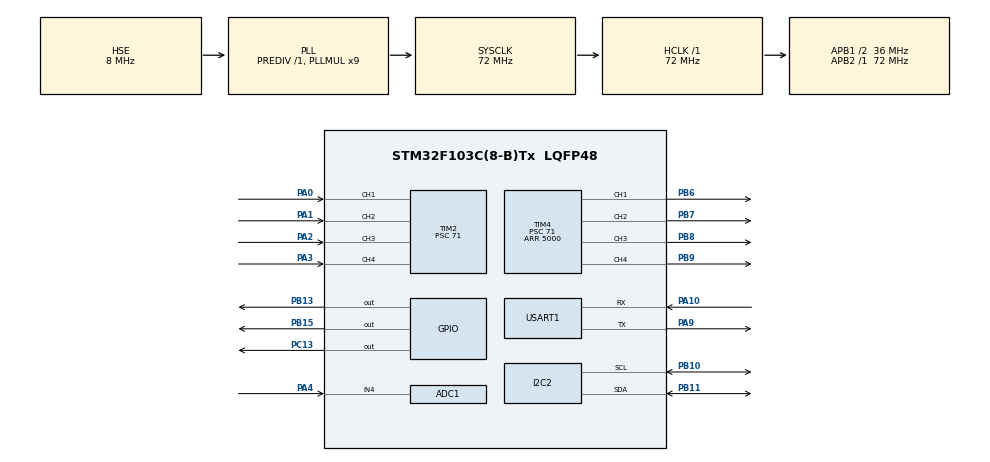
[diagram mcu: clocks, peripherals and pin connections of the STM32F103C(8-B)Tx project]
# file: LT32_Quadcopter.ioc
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ADC1.Channel-0\#ChannelRegularConversion=ADC_CHANNEL_4
ADC1.NbrOfConversionFlag=1
ADC1.Rank-0\#ChannelRegularConversion=1
ADC1.SamplingTime-0\#ChannelRegularConversion=ADC_SAMPLETIME_1CYCLE_5
ADC1.master=1
I2C2.I2C_Mode=I2C_Standard
Mcu.Family=STM32F1
Mcu.Name=STM32F103C(8-B)Tx
Mcu.Package=LQFP48
NVIC.PriorityGroup=NVIC_PRIORITYGROUP_4
NVIC.TIM2_IRQn=true\:2\:0\:true\:false\:true\:true\:true\:true
PA0-WKUP.GPIO_PuPd=GPIO_PULLDOWN
PA0-WKUP.Signal=S_TIM2_CH1_ETR
PA1.GPIO_PuPd=GPIO_PULLDOWN
PA1.Signal=S_TIM2_CH2
PA10.Mode=Asynchronous
PA10.Signal=USART1_RX
PA2.GPIO_PuPd=GPIO_PULLDOWN
PA2.Signal=S_TIM2_CH3
PA3.GPIO_PuPd=GPIO_PULLDOWN
PA3.Signal=S_TIM2_CH4
PA4.Signal=ADCx_IN4
PA9.Mode=Asynchronous
PA9.Signal=USART1_TX
PB10.Mode=I2C
PB10.Signal=I2C2_SCL
PB11.Mode=I2C
PB11.Signal=I2C2_SDA
PB13.Signal=GPIO_Output
PB15.Signal=GPIO_Output
PB6.Signal=S_TIM4_CH1
PB7.Signal=S_TIM4_CH2
PB8.Signal=S_TIM4_CH3
PB9.Signal=S_TIM4_CH4
PC13-TAMPER-RTC.Signal=GPIO_Output
PD0-OSC_IN.Mode=HSE-External-Oscillator
PD0-OSC_IN.Signal=RCC_OSC_IN
PD1-OSC_OUT.Mode=HSE-External-Oscillator
PD1-OSC_OUT.Signal=RCC_OSC_OUT
ProjectManager.HeapSize=0x200
ProjectManager.StackSize=0x400
ProjectManager.TargetToolchain=Makefile
RCC.ADCPresc=RCC_ADCPCLK2_DIV6
RCC.AHBFreq_Value=72000000
RCC.APB1CLKDivider=RCC_HCLK_DIV2
RCC.APB1Freq_Value=36000000
RCC.APB1TimFreq_Value=72000000
RCC.APB2Freq_Value=72000000
RCC.APB2TimFreq_Value=72000000
RCC.HCLKFreq_Value=72000000
RCC.PLLMUL=RCC_PLL_MUL9
RCC.PLLSourceVirtual=RCC_PLLSOURCE_HSE
RCC.SYSCLKFreq_VALUE=72000000
RCC.SYSCLKSource=RCC_SYSCLKSOURCE_PLLCLK
RCC.USBFreq_Value=72000000
SH.ADCx_IN4.0=ADC1_IN4,IN4
SH.S_TIM2_CH1_ETR.0=TIM2_CH1,Input_Capture1_from_TI1
SH.S_TIM2_CH2.0=TIM2_CH2,Input_Capture2_from_TI2
SH.S_TIM2_CH3.0=TIM2_CH3,Input_Capture3_from_TI3
SH.S_TIM2_CH4.0=TIM2_CH4,Input_Capture4_from_TI4
SH.S_TIM4_CH1.0=TIM4_CH1,PWM Generation1 CH1
SH.S_TIM4_CH2.0=TIM4_CH2,PWM Generation2 CH2
SH.S_TIM4_CH3.0=TIM4_CH3,PWM Generation3 CH3
SH.S_TIM4_CH4.0=TIM4_CH4,PWM Generation4 CH4
TIM2.Channel-Input_Capture1_from_TI1=TIM_CHANNEL_1
TIM2.Channel-Input_Capture2_from_TI2=TIM_CHANNEL_2
TIM2.Channel-Input_Capture3_from_TI3=TIM_CHANNEL_3
TIM2.Channel-Input_Capture4_from_TI4=TIM_CHANNEL_4
TIM2.Prescaler=71
TIM4.Channel-PWM\ Generation1\ CH1=TIM_CHANNEL_1
TIM4.Channel-PWM\ Generation2\ CH2=TIM_CHANNEL_2
TIM4.Channel-PWM\ Generation3\ CH3=TIM_CHANNEL_3
TIM4.Channel-PWM\ Generation4\ CH4=TIM_CHANNEL_4
TIM4.Period=5000
TIM4.Prescaler=71
USART1.VirtualMode=VM_ASYNC
VP_SYS_VS_ND.Mode=No_Debug
VP_TIM2_VS_ClockSourceINT.Mode=Internal
VP_TIM4_VS_ClockSourceINT.Mode=Internal
board=custom

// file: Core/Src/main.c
/* USER CODE BEGIN Header */
/**
 ******************************************************************************
 * @file            : main.c
 * @author          : Lam Thach
 * @date            : 27/09/23
 * @brief           : Main program body
 ******************************************************************************
 * @attention
 *
 * Copyright (c) 2023 STMicroelectronics.
 * All rights reserved.
 *
 * This software is licensed under terms that can be found in the LICENSE file
 * in the root directory of this software component.
 * If no LICENSE file comes with this software, it is provided AS-IS.
 *
 ******************************************************************************
 */
/* USER CODE END Header */
#include "main.h"
#include "adc.h"
#include "i2c.h"
#include "tim.h"
#include "usart.h"
#include "gpio.h"

/* USER CODE BEGIN Includes */
#include <stdio.h>
#include "battery.h"
#include "led_error.h"
#include "printf_uart.h"
#include "receiver.h"
#include "pwm.h"
#include "mpu6050.h"
#include "pid.h"
#include "micro_second.h"
#include "lowpass_filter.h"

#include "drone.h"
/* USER CODE END Includes */

/* USER CODE BEGIN PD */
#define TIMEOUT_MAIN	  4000u			                /* The unit is micro second */
#define T_SAMPLE	      (TIMEOUT_MAIN * 1e-6f)	  /* The unit is second */

/* USER CODE END PD */

/* USER CODE BEGIN PM */
#define Throttle_Is_Low()   (drone.receiver->out[THROTTLE] < 1050)
#define Yaw_Is_Left()       (drone.receiver->out[YAW] < 1050)
#define Yaw_Is_Center()			(drone.receiver->out[YAW] > 1450)
#define Yaw_Is_Right()			(drone.receiver->out[YAW] > 1950)

#define Motor_Is_Stop()			(drone.state == STOP)
#define Motor_Is_Prepare()	(drone.state == PREPARE)
#define Motor_Is_Start()		(drone.state == START)
/* USER CODE END PM */

/* USER CODE BEGIN PV */
Drone_TypeDef drone;
MPU6050_TypeDef mpu;
Receiver_TypeDef receiver;
PID_TypeDef pid[3];

uint32_t timeNow = 0u;

/* USER CODE END PV */

void SystemClock_Config(void);

/* USER CODE BEGIN 0 */
void HAL_TIM_IC_CaptureCallback(TIM_HandleTypeDef *htim)
{
	Receiver_Get_Value_IT_Complete(&receiver);
}

/* USER CODE END 0 */

int main(void)
{

  /* MCU Configuration--------------------------------------------------------*/

  /* Reset of all peripherals, Initializes the Flash interface and the Systick. */
  HAL_Init();

  /* Configure the system clock */
  SystemClock_Config();

  /* Initialize all configured peripherals */
  MX_GPIO_Init();
  MX_I2C2_Init();
  MX_TIM2_Init();
  MX_TIM4_Init();
  MX_USART1_UART_Init();
  MX_ADC1_Init();
  /* USER CODE BEGIN 2 */

  /* Initial peripheral -------------------------------------------------------------------------*/\
  Printf_UART_Init(&huart1);
  HAL_Delay(100);

  MPU6050_Init(&mpu, &hi2c2, ACC_RANGE_8G, GYRO_RANGE_2000, USE_NO_IT, TIMEOUT_MAIN);
  HAL_Delay(100);

  /* Calibrate value for accelerometer and gyroscope */
  // MPU6050_Acc_Get_Offset_Raw(&mpu, 2000);
  MPU6050_Gyro_Get_Offset_Raw(&mpu, 2000);
  HAL_Delay(100);

  PID_Init(&pid[X], 8, 0, 1, T_SAMPLE); 		/* P = 6, I = [1:6], D = [0:1] */
  PID_Init(&pid[Y], 8, 0, 1, T_SAMPLE);
  PID_Init(&pid[Z], 6, 7, 0, T_SAMPLE); 		/* P = [3:6], I = [6:8], D = 0 */
  HAL_Delay(100);

  PWM_Init(&htim4);
  HAL_Delay(100);

  Receiver_Get_Value_IT(&receiver, &htim2, GPIOA);
  HAL_Delay(100);

  Drone_Init(&drone,
          &hadc1,
          &mpu,
          &receiver,
          pid);
  HAL_Delay(100);
  /* USER CODE END 2 */

  /* Infinite loop */
  /* USER CODE BEGIN WHILE */

  /* Error Handler --------------------------------------------------------------------------------*/\
  // Drone_Warn_Low_Battery(&drone, 11.0f);
  // Drone_Warn_Not_Detect_MPU6050(&drone);
  // Drone_Warn_Not_Detect_Receiver(&drone);
  // Drone_Warn_Throttle_Not_In_Lowest_Position(&drone);

  while (1) {
    timeNow = Get_Micro_Second();

    /* MPU6050: Get angle and dps value -----------------------------------------------------------*/\
    MPU6050_Get_Angle(&mpu);
    // printf("dps_Z = %.2f, f_Z = %.2f\r\n", mpu.gyro.dps[Z], mpu.gyro.dpsZ);
    // printf("angle_X = %.2f, angle_Y = %.2f\r\n", mpu.angle[X], mpu.angle[Y]);

    /* Drone: Get setpoint value ------------------------------------------------------------------*/\
    Drone_Get_Angle_Setpoint(&drone, X, ROLL, 25.0f);
    Drone_Get_Angle_Setpoint(&drone, Y, PITCH, 25.0f);
    Drone_Get_Dps_Setpoint(&drone, Z, YAW, 100.0f);

    /* PID Controller: Calculate PID output -------------------------------------------------------*/\
    PID_Controller(&pid[X], &mpu.angle[X], &drone.setpoint[X]);
    PID_Controller(&pid[Y], &mpu.angle[Y], &drone.setpoint[Y]);
    PID_Controller(&pid[Z], &mpu.gyro.dpsZ, &drone.setpoint[Z]);

    /* Motor: On/Off mechanism --------------------------------------------------------------------*/\
    if (Throttle_Is_Low() && Yaw_Is_Left()) {
      drone.state = PREPARE;
    }

    if (Motor_Is_Prepare() && Throttle_Is_Low() && Yaw_Is_Center()) {
      drone.state = START;
      Turn_Off_Green_Led();

      /* Reset PID parameter */
      PID_Reset_Parameter(drone.pid[X]);
      PID_Reset_Parameter(drone.pid[Y]);
      PID_Reset_Parameter(drone.pid[Z]);
    }

    if (Motor_Is_Start() && Throttle_Is_Low() && Yaw_Is_Right()) {
      drone.state = STOP;
      Turn_On_Green_Led();
    }

    /* ESC: Calculate value and control -----------------------------------------------------------*/\
    if (Motor_Is_Start()) {
      Drone_Esc_Calc_Value(&drone);
    }
    else {
      Drone_Esc_Reset_Value(&drone);
    }

    PWM_Control_ESC(&htim4, TIM_CHANNEL_1, drone.esc[0]);
    PWM_Control_ESC(&htim4, TIM_CHANNEL_2, drone.esc[1]);
    PWM_Control_ESC(&htim4, TIM_CHANNEL_3, drone.esc[2]);
    PWM_Control_ESC(&htim4, TIM_CHANNEL_4, drone.esc[3]);

    /* USER CODE END WHILE */

    /* USER CODE BEGIN 3 */

    while ((Get_Micro_Second() - timeNow) < TIMEOUT_MAIN);
  } /* End of while loop */

  /* USER CODE END 3 */
}

void SystemClock_Config(void)
{
  RCC_OscInitTypeDef RCC_OscInitStruct = {0};
  RCC_ClkInitTypeDef RCC_ClkInitStruct = {0};
  RCC_PeriphCLKInitTypeDef PeriphClkInit = {0};

  /** Initializes the RCC Oscillators according to the specified parameters
  * in the RCC_OscInitTypeDef structure.
  */
  RCC_OscInitStruct.OscillatorType = RCC_OSCILLATORTYPE_HSE;
  RCC_OscInitStruct.HSEState = RCC_HSE_ON;
  RCC_OscInitStruct.HSEPredivValue = RCC_HSE_PREDIV_DIV1;
  RCC_OscInitStruct.HSIState = RCC_HSI_ON;
  RCC_OscInitStruct.PLL.PLLState = RCC_PLL_ON;
  RCC_OscInitStruct.PLL.PLLSource = RCC_PLLSOURCE_HSE;
  RCC_OscInitStruct.PLL.PLLMUL = RCC_PLL_MUL9;
  if (HAL_RCC_OscConfig(&RCC_OscInitStruct) != HAL_OK)
  {
    Error_Handler();
  }

  /** Initializes the CPU, AHB and APB buses clocks
  */
  RCC_ClkInitStruct.ClockType = RCC_CLOCKTYPE_HCLK|RCC_CLOCKTYPE_SYSCLK
                              |RCC_CLOCKTYPE_PCLK1|RCC_CLOCKTYPE_PCLK2;
  RCC_ClkInitStruct.SYSCLKSource = RCC_SYSCLKSOURCE_PLLCLK;
  RCC_ClkInitStruct.AHBCLKDivider = RCC_SYSCLK_DIV1;
  RCC_ClkInitStruct.APB1CLKDivider = RCC_HCLK_DIV2;
  RCC_ClkInitStruct.APB2CLKDivider = RCC_HCLK_DIV1;

  if (HAL_RCC_ClockConfig(&RCC_ClkInitStruct, FLASH_LATENCY_2) != HAL_OK)
  {
    Error_Handler();
  }
  PeriphClkInit.PeriphClockSelection = RCC_PERIPHCLK_ADC;
  PeriphClkInit.AdcClockSelection = RCC_ADCPCLK2_DIV6;
  if (HAL_RCCEx_PeriphCLKConfig(&PeriphClkInit) != HAL_OK)
  {
    Error_Handler();
  }
}

void Error_Handler(void)
{
	__disable_irq();
	while (1)
	{
	}
}
